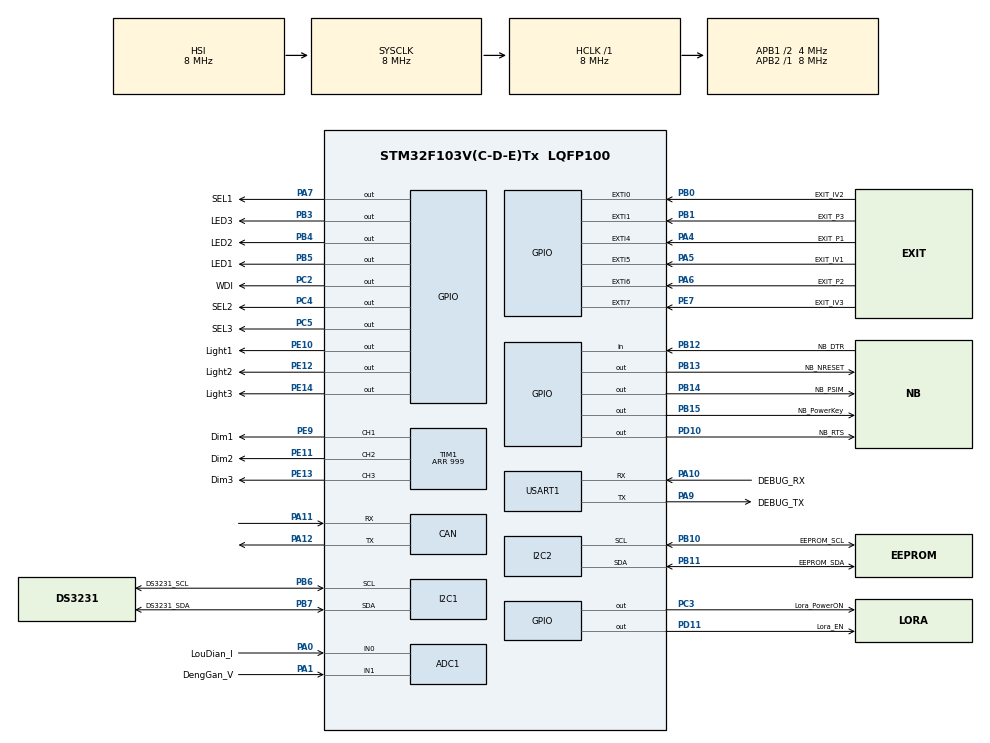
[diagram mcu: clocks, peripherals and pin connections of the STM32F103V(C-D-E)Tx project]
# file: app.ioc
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ADC1.Channel-0\#ChannelRegularConversion=ADC_CHANNEL_0
ADC1.Channel-1\#ChannelRegularConversion=ADC_CHANNEL_1
ADC1.ContinuousConvMode=ENABLE
ADC1.DataAlign=ADC_DATAALIGN_RIGHT
ADC1.DiscontinuousConvMode=DISABLE
ADC1.EnableAnalogWatchDog=false
ADC1.EnableRegularConversion=ENABLE
ADC1.ExternalTrigConv=ADC_SOFTWARE_START
ADC1.InjNumberOfConversion=0
ADC1.NbrOfConversion=2
ADC1.NbrOfConversionFlag=1
ADC1.Rank-0\#ChannelRegularConversion=1
ADC1.Rank-1\#ChannelRegularConversion=2
ADC1.SamplingTime-0\#ChannelRegularConversion=ADC_SAMPLETIME_7CYCLES_5
ADC1.SamplingTime-1\#ChannelRegularConversion=ADC_SAMPLETIME_7CYCLES_5
ADC1.ScanConvMode=ADC_SCAN_ENABLE
ADC1.master=1
CAN.CalculateTimeBit=12000
CAN.CalculateTimeQuantum=4000.0
Dma.ADC1.1.Direction=DMA_PERIPH_TO_MEMORY
Dma.ADC1.1.Instance=DMA1_Channel1
Dma.ADC1.1.MemDataAlignment=DMA_MDATAALIGN_WORD
Dma.ADC1.1.MemInc=DMA_MINC_ENABLE
Dma.ADC1.1.Mode=DMA_CIRCULAR
Dma.ADC1.1.PeriphDataAlignment=DMA_PDATAALIGN_WORD
Dma.ADC1.1.PeriphInc=DMA_PINC_DISABLE
Dma.ADC1.1.Priority=DMA_PRIORITY_HIGH
Dma.Request0=USART1_RX
Dma.Request1=ADC1
Dma.USART1_RX.0.Direction=DMA_PERIPH_TO_MEMORY
Dma.USART1_RX.0.Instance=DMA1_Channel5
Dma.USART1_RX.0.MemDataAlignment=DMA_MDATAALIGN_BYTE
Dma.USART1_RX.0.MemInc=DMA_MINC_ENABLE
Dma.USART1_RX.0.Mode=DMA_CIRCULAR
Dma.USART1_RX.0.PeriphDataAlignment=DMA_PDATAALIGN_BYTE
Dma.USART1_RX.0.PeriphInc=DMA_PINC_DISABLE
Dma.USART1_RX.0.Priority=DMA_PRIORITY_HIGH
I2C2.I2C_Mode=I2C_Standard
I2C2.OwnAddress=0
Mcu.Family=STM32F1
Mcu.Name=STM32F103V(C-D-E)Tx
Mcu.Package=LQFP100
NVIC.DMA1_Channel1_IRQn=true\:0\:0\:false\:false\:true\:false
NVIC.DMA1_Channel5_IRQn=true\:0\:0\:false\:false\:true\:false
NVIC.EXTI0_IRQn=true\:0\:0\:true\:true\:true\:1\:true
NVIC.EXTI1_IRQn=true\:0\:0\:false\:true\:true\:6\:true
NVIC.EXTI4_IRQn=true\:0\:0\:false\:true\:true\:7\:true
NVIC.EXTI9_5_IRQn=true\:0\:0\:false\:true\:true\:8\:true
NVIC.PriorityGroup=NVIC_PRIORITYGROUP_4
NVIC.RTC_IRQn=true\:0\:0\:false\:true\:true\:9\:true
NVIC.TIM3_IRQn=true\:0\:0\:false\:true\:true\:4\:true
NVIC.TIM4_IRQn=true\:0\:0\:false\:true\:true\:5\:true
NVIC.TIM8_UP_IRQn=true\:0\:0\:false\:false\:true\:false
NVIC.TimeBase=TIM8_UP_IRQn
NVIC.TimeBaseIP=TIM8
NVIC.USART1_IRQn=true\:0\:0\:false\:true\:true\:2\:true
OSC_IN.Mode=HSE-External-Oscillator
OSC_IN.Signal=RCC_OSC_IN
OSC_OUT.Mode=HSE-External-Oscillator
OSC_OUT.Signal=RCC_OSC_OUT
PA0-WKUP.GPIO_Label=LouDian_I
PA0-WKUP.Signal=ADCx_IN0
PA1.GPIO_Label=DengGan_V
PA1.Signal=ADCx_IN1
PA10.GPIO_Label=DEBUG_RX
PA10.Mode=Asynchronous
PA10.Signal=USART1_RX
PA11.Mode=Master
PA11.Signal=CAN_RX
PA12.Mode=Master
PA12.Signal=CAN_TX
PA13.GPIO_Label=SWDIO
PA13.Mode=Serial_Wire
PA13.Signal=SYS_JTMS-SWDIO
PA14.GPIO_Label=SWCLK
PA14.Mode=Serial_Wire
PA14.Signal=SYS_JTCK-SWCLK
PA2.GPIO_Label=Lora_TX
PA2.Signal=USART2_TX
PA3.GPIO_Label=Lora_RX
PA3.Signal=USART2_RX
PA4.GPIO_Label=EXIT_P1
PA4.GPIO_ModeDefaultEXTI=GPIO_MODE_IT_FALLING
PA4.GPIO_PuPd=GPIO_PULLUP
PA4.Signal=GPXTI4
PA5.GPIO_Label=EXIT_IV1
PA5.GPIO_ModeDefaultEXTI=GPIO_MODE_IT_FALLING
PA5.GPIO_PuPd=GPIO_PULLUP
PA5.Signal=GPXTI5
PA6.GPIO_Label=EXIT_P2
PA6.GPIO_ModeDefaultEXTI=GPIO_MODE_IT_FALLING
PA6.GPIO_PuPd=GPIO_PULLUP
PA6.Signal=GPXTI6
PA7.GPIO_Label=SEL1
PA7.Signal=GPIO_Output
PA9.GPIO_Label=DEBUG_TX
PA9.Mode=Asynchronous
PA9.Signal=USART1_TX
PB0.GPIO_Label=EXIT_IV2
PB0.GPIO_ModeDefaultEXTI=GPIO_MODE_IT_FALLING
PB0.GPIO_PuPd=GPIO_PULLUP
PB0.Signal=GPXTI0
PB1.GPIO_Label=EXIT_P3
PB1.GPIO_ModeDefaultEXTI=GPIO_MODE_IT_FALLING
PB1.GPIO_PuPd=GPIO_PULLUP
PB1.Signal=GPXTI1
PB10.GPIO_Label=EEPROM_SCL
PB10.Mode=I2C
PB10.Signal=I2C2_SCL
PB11.GPIO_Label=EEPROM_SDA
PB11.Mode=I2C
PB11.Signal=I2C2_SDA
PB12.GPIO_Label=NB_DTR
PB12.Signal=GPIO_Input
PB13.GPIO_Label=NB_NRESET
PB13.Signal=GPIO_Output
PB14.GPIO_Label=NB_PSIM
PB14.PinState=GPIO_PIN_RESET
PB14.Signal=GPIO_Output
PB15.GPIO_Label=NB_PowerKey
PB15.PinState=GPIO_PIN_RESET
PB15.Signal=GPIO_Output
PB3.GPIO_Label=LED3
PB3.PinState=GPIO_PIN_SET
PB3.Signal=GPIO_Output
PB4.GPIO_Label=LED2
PB4.PinState=GPIO_PIN_SET
PB4.Signal=GPIO_Output
PB5.GPIO_Label=LED1
PB5.PinState=GPIO_PIN_SET
PB5.Signal=GPIO_Output
PB6.GPIO_Label=DS3231_SCL
PB6.Mode=I2C
PB6.Signal=I2C1_SCL
PB7.GPIO_Label=DS3231_SDA
PB7.Mode=I2C
PB7.Signal=I2C1_SDA
PC14-OSC32_IN.Mode=LSE-External-Oscillator
PC14-OSC32_IN.Signal=RCC_OSC32_IN
PC15-OSC32_OUT.Mode=LSE-External-Oscillator
PC15-OSC32_OUT.Signal=RCC_OSC32_OUT
PC2.GPIO_Label=WDI
PC2.Signal=GPIO_Output
PC3.GPIO_Label=Lora_PowerON
PC3.PinState=GPIO_PIN_SET
PC3.Signal=GPIO_Output
PC4.GPIO_Label=SEL2
PC4.Signal=GPIO_Output
PC5.GPIO_Label=SEL3
PC5.Signal=GPIO_Output
PD10.GPIO_Label=NB_RTS
PD10.Signal=GPIO_Output
PD11.GPIO_Label=Lora_EN
PD11.PinState=GPIO_PIN_SET
PD11.Signal=GPIO_Output
PD8.GPIO_Label=NB_TX
PD8.Signal=USART3_TX
PD9.GPIO_Label=NB_RX
PD9.Signal=USART3_RX
PE10.GPIO_Label=Light1
PE10.PinState=GPIO_PIN_SET
PE10.Signal=GPIO_Output
PE11.GPIO_Label=Dim2
PE11.Signal=S_TIM1_CH2
PE12.GPIO_Label=Light2
PE12.PinState=GPIO_PIN_SET
PE12.Signal=GPIO_Output
PE13.GPIO_Label=Dim3
PE13.Signal=S_TIM1_CH3
PE14.GPIO_Label=Light3
PE14.PinState=GPIO_PIN_SET
PE14.Signal=GPIO_Output
PE7.GPIO_Label=EXIT_IV3
PE7.GPIO_ModeDefaultEXTI=GPIO_MODE_IT_FALLING
PE7.GPIO_PuPd=GPIO_PULLUP
PE7.Signal=GPXTI7
PE9.GPIO_Label=Dim1
PE9.Signal=S_TIM1_CH1
ProjectManager.HeapSize=0x200
ProjectManager.StackSize=0x400
ProjectManager.TargetToolchain=MDK-ARM V5
RCC.AHBFreq_Value=8000000
RCC.APB1CLKDivider=RCC_HCLK_DIV2
RCC.APB1Freq_Value=4000000
RCC.APB1TimFreq_Value=8000000
RCC.APB2Freq_Value=8000000
RCC.APB2TimFreq_Value=8000000
RCC.HCLKFreq_Value=8000000
RCC.PLLMUL=RCC_PLL_MUL9
RCC.RTCClockSelection=RCC_RTCCLKSOURCE_LSE
RCC.SYSCLKFreq_VALUE=8000000
RCC.USBFreq_Value=36000000
RTC.AutoPrediv=0
SH.ADCx_IN0.0=ADC1_IN0,IN0
SH.ADCx_IN1.0=ADC1_IN1,IN1
SH.S_TIM1_CH1.0=TIM1_CH1,PWM Generation1 CH1
SH.S_TIM1_CH2.0=TIM1_CH2,PWM Generation2 CH2
SH.S_TIM1_CH3.0=TIM1_CH3,PWM Generation3 CH3
TIM1.Channel-PWM\ Generation1\ CH1=TIM_CHANNEL_1
TIM1.Channel-PWM\ Generation2\ CH2=TIM_CHANNEL_2
TIM1.Channel-PWM\ Generation3\ CH3=TIM_CHANNEL_3
TIM1.OCFastMode_PWM-PWM\ Generation1\ CH1=TIM_OCFAST_DISABLE
TIM1.OCFastMode_PWM-PWM\ Generation2\ CH2=TIM_OCFAST_DISABLE
TIM1.Period=999
TIM3.Period=1000-1
TIM3.Prescaler=4000-1
TIM4.Period=6000-1
TIM4.Prescaler=4000-1
USART1.VirtualMode=VM_ASYNC
VP_CRC_VS_CRC.Mode=CRC_Activate
VP_RTC_VS_RTC_Activate.Mode=RTC_Enabled
VP_RTC_VS_RTC_Calendar.Mode=RTC_Calendar
VP_SYS_VS_tim8.Mode=TIM8
VP_TIM3_VS_ClockSourceINT.Mode=Internal
VP_TIM4_VS_ClockSourceINT.Mode=Internal
board=app

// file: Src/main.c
/**
  ******************************************************************************
  * @file           : main.c
  * @brief          : Main program body
  ******************************************************************************
  ** This notice applies to any and all portions of this file
  * that are not between comment pairs USER CODE BEGIN and
  * USER CODE END. Other portions of this file, whether
  * inserted by the user or by software development tools
  * are owned by their respective copyright owners.
  *
  * COPYRIGHT(c) 2019 STMicroelectronics
  *
  * Redistribution and use in source and binary forms, with or without modification,
  * are permitted provided that the following conditions are met:
  *   1. Redistributions of source code must retain the above copyright notice,
  *      this list of conditions and the following disclaimer.
  *   2. Redistributions in binary form must reproduce the above copyright notice,
  *      this list of conditions and the following disclaimer in the documentation
  *      and/or other materials provided with the distribution.
  *   3. Neither the name of STMicroelectronics nor the names of its contributors
  *      may be used to endorse or promote products derived from this software
  *      without specific prior written permission.
  *
  * THIS SOFTWARE IS PROVIDED BY THE COPYRIGHT HOLDERS AND CONTRIBUTORS "AS IS"
  * AND ANY EXPRESS OR IMPLIED WARRANTIES, INCLUDING, BUT NOT LIMITED TO, THE
  * IMPLIED WARRANTIES OF MERCHANTABILITY AND FITNESS FOR A PARTICULAR PURPOSE ARE
  * DISCLAIMED. IN NO EVENT SHALL THE COPYRIGHT HOLDER OR CONTRIBUTORS BE LIABLE
  * FOR ANY DIRECT, INDIRECT, INCIDENTAL, SPECIAL, EXEMPLARY, OR CONSEQUENTIAL
  * DAMAGES (INCLUDING, BUT NOT LIMITED TO, PROCUREMENT OF SUBSTITUTE GOODS OR
  * SERVICES; LOSS OF USE, DATA, OR PROFITS; OR BUSINESS INTERRUPTION) HOWEVER
  * CAUSED AND ON ANY THEORY OF LIABILITY, WHETHER IN CONTRACT, STRICT LIABILITY,
  * OR TORT (INCLUDING NEGLIGENCE OR OTHERWISE) ARISING IN ANY WAY OUT OF THE USE
  * OF THIS SOFTWARE, EVEN IF ADVISED OF THE POSSIBILITY OF SUCH DAMAGE.
  *
  ******************************************************************************
  */
#include "main.h"
#include "stm32f1xx_hal.h"
#include "adc.h"
#include "can.h"
#include "crc.h"
#include "dma.h"
#include "i2c.h"
#include "rtc.h"
#include "tim.h"
#include "usart.h"
#include "gpio.h"

/* USER CODE BEGIN Includes */

#include "all.h"

/*******************   重写printf函数  *************************/
#ifdef __GNUC__
  #define PUTCHAR_PROTOTYPE int __io_putchar(int ch)
#else
  #define PUTCHAR_PROTOTYPE int fputc(int ch, FILE *f)
#endif /* __GNUC__ */

PUTCHAR_PROTOTYPE
{
HAL_UART_Transmit(&huart1 , (uint8_t *)&ch, 1, 0xFFFF);
return ch;
}

/// 调试串口参数实例化

//#define ADC_SIZE 2
//#define ADC_SAMPLE_SIZE 20

//uint32_t adc_DATA[ADC_SIZE];
//uint8_t hasClear;          //清除运行次数

//RTC_TimeTypeDef sTime;          //RTC时间
//RTC_DateTypeDef sDate;          //RTC日期

//uint32_t adc1_sample[ADC_SAMPLE_SIZE];       //ADC通道数据采集

/* USER CODE END Includes */

/* USER CODE BEGIN PV */
/* Private variables ---------------------------------------------------------*/

/* USER CODE END PV */

void SystemClock_Config(void);
static void MX_NVIC_Init(void);

/* USER CODE BEGIN PFP */
/* Private function prototypes -----------------------------------------------*/

/* USER CODE END PFP */

int main(void)
{

  /* MCU Configuration----------------------------------------------------------*/

  /* Reset of all peripherals, Initializes the Flash interface and the Systick. */
  HAL_Init();

  /* Configure the system clock */
  SystemClock_Config();

  /* USER CODE BEGIN SysInit */
	//已在system_stm32fxx.c文件中修改了  VECT_TAB_OFFSET  参数
	//SCB->VTOR = FLASH_ADDR_BOOTLOADER;

	__enable_irq();

  /* USER CODE END SysInit */

  /* Initialize all configured peripherals */
  MX_GPIO_Init();
  MX_DMA_Init();
  MX_USART1_UART_Init();
  MX_I2C2_Init();
  MX_TIM1_Init();
  MX_ADC1_Init();
  MX_RTC_Init();
  MX_TIM3_Init();
  MX_CRC_Init();
  MX_TIM4_Init();
  MX_I2C1_Init();
  MX_CAN_Init();

  /* Initialize interrupts */
  MX_NVIC_Init();
  /* USER CODE BEGIN 2 */
	{
		/** 自定义配置RTC时钟  ------------------------------ **/

		print_msg("STM32 Lib App");
		print_msg(VERSION);

		__HAL_UART_ENABLE_IT(&huart1,UART_IT_IDLE);                                //打开串口1空闲中断
		HAL_UART_Receive_DMA(&huart1,uart1_data_DMA,UART1_DATA_MAX);     //启用串口DMA接收

		HAL_TIM_Base_Start_IT(&htim3);                                   // 打开TIM3定时器中断

//		__HAL_TIM_CLEAR_IT(&htim4, TIM_IT_UPDATE);                       // 清除TIM4中断更新请求标志 , 防止第一次开启TIM立马进入中断
//		HAL_TIM_Base_Start_IT(&htim4);                                   //启用TIM4定时器

	}
  /* USER CODE END 2 */

  /* Infinite loop */
  /* USER CODE BEGIN WHILE */
  while (1)
  {

			// 调试代码
			{
//			  printf("串口1状态 : %08X\r\n",huart1.gState);

				//生成数据

			}

			/** 串口1 调试 -------------------------------------------------------------- **/
			{
				if(uart1_idle){
					{
//					#if DEBUG
//					println("");
//					printf("UART1 gState = %02X,  errorCode = %08X dmaErrorCode = %08X dmaState = %08X \r\n",huart1.gState, huart1.ErrorCode, huart1.hdmarx->ErrorCode,huart1.hdmarx->State);
//					printf("UART2 gState = %02X,  errorCode = %08X dmaErrorCode = %08X dmaState = %08X \r\n",huart2.gState, huart2.ErrorCode, huart2.hdmarx->ErrorCode,huart2.hdmarx->State);
//					printf("UART3 gState = %02X,  errorCode = %08X dmaErrorCode = %08X dmaState = %08X \r\n",huart3.gState, huart3.ErrorCode, huart3.hdmarx->ErrorCode,huart3.hdmarx->State);
//					#endif
					}

					DMAQueue_push(&dmaQueue_uart1 , huart1);

					if(!DMAQueue_empty(&dmaQueue_uart1)){

						uint16_t from,length;
						DMAQueue_pop(&dmaQueue_uart1 ,&from,&length);
						Array_loop_buffer_copy(uart1_data_DMA, from, UART1_DATA_MAX,uart1_data,0,UART1_DATA_MAX,length);
						uartFrame_uart1.length = length;
						UartFrame_analysis(&uartFrame_uart1);

						printf(" Running Time : %d s \r\n ",system_tick/2);

					}

					uart1_idle--;
				}
			}

			//HAL_Delay(10);

  /* USER CODE END WHILE */

  }

}

void SystemClock_Config(void)
{

  RCC_OscInitTypeDef RCC_OscInitStruct;
  RCC_ClkInitTypeDef RCC_ClkInitStruct;
  RCC_PeriphCLKInitTypeDef PeriphClkInit;

    /**Initializes the CPU, AHB and APB busses clocks
    */
  RCC_OscInitStruct.OscillatorType = RCC_OSCILLATORTYPE_HSI|RCC_OSCILLATORTYPE_LSE;
  RCC_OscInitStruct.LSEState = RCC_LSE_ON;
  RCC_OscInitStruct.HSIState = RCC_HSI_ON;
  RCC_OscInitStruct.HSICalibrationValue = 16;
  RCC_OscInitStruct.PLL.PLLState = RCC_PLL_NONE;
  if (HAL_RCC_OscConfig(&RCC_OscInitStruct) != HAL_OK)
  {
    _Error_Handler(__FILE__, __LINE__);
  }

    /**Initializes the CPU, AHB and APB busses clocks
    */
  RCC_ClkInitStruct.ClockType = RCC_CLOCKTYPE_HCLK|RCC_CLOCKTYPE_SYSCLK
                              |RCC_CLOCKTYPE_PCLK1|RCC_CLOCKTYPE_PCLK2;
  RCC_ClkInitStruct.SYSCLKSource = RCC_SYSCLKSOURCE_HSI;
  RCC_ClkInitStruct.AHBCLKDivider = RCC_SYSCLK_DIV1;
  RCC_ClkInitStruct.APB1CLKDivider = RCC_HCLK_DIV2;
  RCC_ClkInitStruct.APB2CLKDivider = RCC_HCLK_DIV1;

  if (HAL_RCC_ClockConfig(&RCC_ClkInitStruct, FLASH_LATENCY_0) != HAL_OK)
  {
    _Error_Handler(__FILE__, __LINE__);
  }

  PeriphClkInit.PeriphClockSelection = RCC_PERIPHCLK_RTC|RCC_PERIPHCLK_ADC;
  PeriphClkInit.RTCClockSelection = RCC_RTCCLKSOURCE_LSE;
  PeriphClkInit.AdcClockSelection = RCC_ADCPCLK2_DIV2;
  if (HAL_RCCEx_PeriphCLKConfig(&PeriphClkInit) != HAL_OK)
  {
    _Error_Handler(__FILE__, __LINE__);
  }

    /**Configure the Systick interrupt time
    */
  HAL_SYSTICK_Config(HAL_RCC_GetHCLKFreq()/1000);

    /**Configure the Systick
    */
  HAL_SYSTICK_CLKSourceConfig(SYSTICK_CLKSOURCE_HCLK);

  /* SysTick_IRQn interrupt configuration */
  HAL_NVIC_SetPriority(SysTick_IRQn, 0, 0);
}

/**
  * @brief NVIC Configuration.
  * @retval None
  */
static void MX_NVIC_Init(void)
{
  /* EXTI0_IRQn interrupt configuration */
  HAL_NVIC_SetPriority(EXTI0_IRQn, 0, 0);
  HAL_NVIC_EnableIRQ(EXTI0_IRQn);
  /* USART1_IRQn interrupt configuration */
  HAL_NVIC_SetPriority(USART1_IRQn, 0, 0);
  HAL_NVIC_EnableIRQ(USART1_IRQn);
  /* TIM3_IRQn interrupt configuration */
  HAL_NVIC_SetPriority(TIM3_IRQn, 0, 0);
  HAL_NVIC_EnableIRQ(TIM3_IRQn);
  /* TIM4_IRQn interrupt configuration */
  HAL_NVIC_SetPriority(TIM4_IRQn, 0, 0);
  HAL_NVIC_EnableIRQ(TIM4_IRQn);
  /* EXTI1_IRQn interrupt configuration */
  HAL_NVIC_SetPriority(EXTI1_IRQn, 0, 0);
  HAL_NVIC_EnableIRQ(EXTI1_IRQn);
  /* EXTI4_IRQn interrupt configuration */
  HAL_NVIC_SetPriority(EXTI4_IRQn, 0, 0);
  HAL_NVIC_EnableIRQ(EXTI4_IRQn);
  /* EXTI9_5_IRQn interrupt configuration */
  HAL_NVIC_SetPriority(EXTI9_5_IRQn, 0, 0);
  HAL_NVIC_EnableIRQ(EXTI9_5_IRQn);
  /* RTC_IRQn interrupt configuration */
  HAL_NVIC_SetPriority(RTC_IRQn, 0, 0);
  HAL_NVIC_EnableIRQ(RTC_IRQn);
}

void HAL_TIM_PeriodElapsedCallback(TIM_HandleTypeDef *htim)
{
  if (htim->Instance == TIM8) {
    HAL_IncTick();
  }
  /* USER CODE BEGIN Callback 1 */

	/***   关闭定时中断      ***/
//  if(htim->Instance == TIM4){
//	  SL.flag_counting = 0;
//	  GPIO_EXIT_0_7_Disable();
//	}

  /* USER CODE END Callback 1 */
}

void _Error_Handler(char *file, int line)
{
  while(1)
  {
  }
}

/************************ (C) COPYRIGHT STMicroelectronics *****END OF FILE****/
